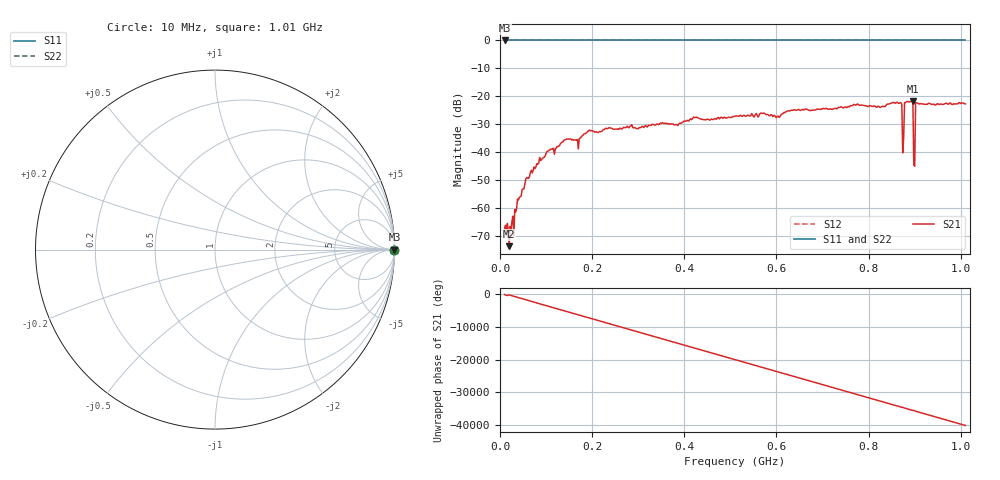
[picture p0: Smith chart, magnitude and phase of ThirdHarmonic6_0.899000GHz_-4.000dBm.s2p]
! 8/16/2025 5:29:25 AM
! C:\ANRITSUVNA\TEMP\TEMP.S2P
! CHANNEL.1
! TR.MEASUREMENT
! RAW.DATA
! RF.CORRECTION.OFF
! AVERAGING.OFF
! IF.BANDWIDTH: 5KHZ
! SWEEPTYPE:  FREQ.SWEEP(Linear)
! Reference Plane Port Info
! PORT:  PORT1  PORT2
! DISTANCE:  0  m  0  m
! TIME:  0  s  0  s
! PHASE.OFFSET:  0  deg.  0  deg.
! LOSS:  0  dB  0  dB
! REF.LOSS:  0  dB  0  dB
! REF.FREQ:  0  Hz  0  Hz
! Power Info
! POWER:  -20  dBm  -20  dBm
! EFF.POWER:  -20  dBm  -20  dBm
! SOURCE.ATTEN:  0  dB  0  dB
! TEST.ATTEN:  0  dB  0  dB
# GHZ S RI R 50.0
! FREQ.GHZ  S11RE  S11IM  S21RE  S21IM  S12RE  S12IM  S22RE  S22IM
!; PortSelection: Port_12
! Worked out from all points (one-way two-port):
!   501 points, 10 MHz to 1.01 GHz, reference 50 ohm
!   highest |S21| = -21.78 dB at 896 MHz (marker M1); lowest = -73.8 dB at 20 MHz (marker M2)
!   lowest |S11| = 0.0 dB at 10 MHz (marker M3)
!   |S11| at or under -10 dB: nowhere
!   |S22| runs from 0.0 to 0.0 dB; largest |S21 - S12| = 1.1
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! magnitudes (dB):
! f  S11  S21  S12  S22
! 10 MHz  0.0  -67.4  0.0  0.0
! 20 MHz  0.0  -73.8  0.0  0.0
! 56 MHz  0.0  -49.7  0.0  0.0
! 84 MHz  0.0  -44.1  0.0  0.0
! 142 MHz  0.0  -35.6  0.0  0.0
! 166 MHz  0.0  -35.8  0.0  0.0
! 178 MHz  0.0  -34.2  0.0  0.0
! 196 MHz  0.0  -32.4  0.0  0.0
! 344 MHz  0.0  -30.2  0.0  0.0
! 510 MHz  0.0  -27.2  0.0  0.0
! 678 MHz  0.0  -25.0  0.0  0.0
! 844 MHz  0.0  -22.8  0.0  0.0
! 868 MHz  0.0  -22.4  0.0  0.0
! 872 MHz  0.0  -22.8  0.0  0.0
! 876 MHz  0.0  -35.0  0.0  0.0
! 878 MHz  0.0  -22.3  0.0  0.0
! 882 MHz  0.0  -22.0  0.0  0.0
! 892 MHz  0.0  -21.9  0.0  0.0
! 896 MHz  0.0  -21.8  0.0  0.0
! 902 MHz  0.0  -22.3  0.0  0.0
! 906 MHz  0.0  -22.4  0.0  0.0
! 1.01 GHz  0.0  -22.8  0.0  0.0
